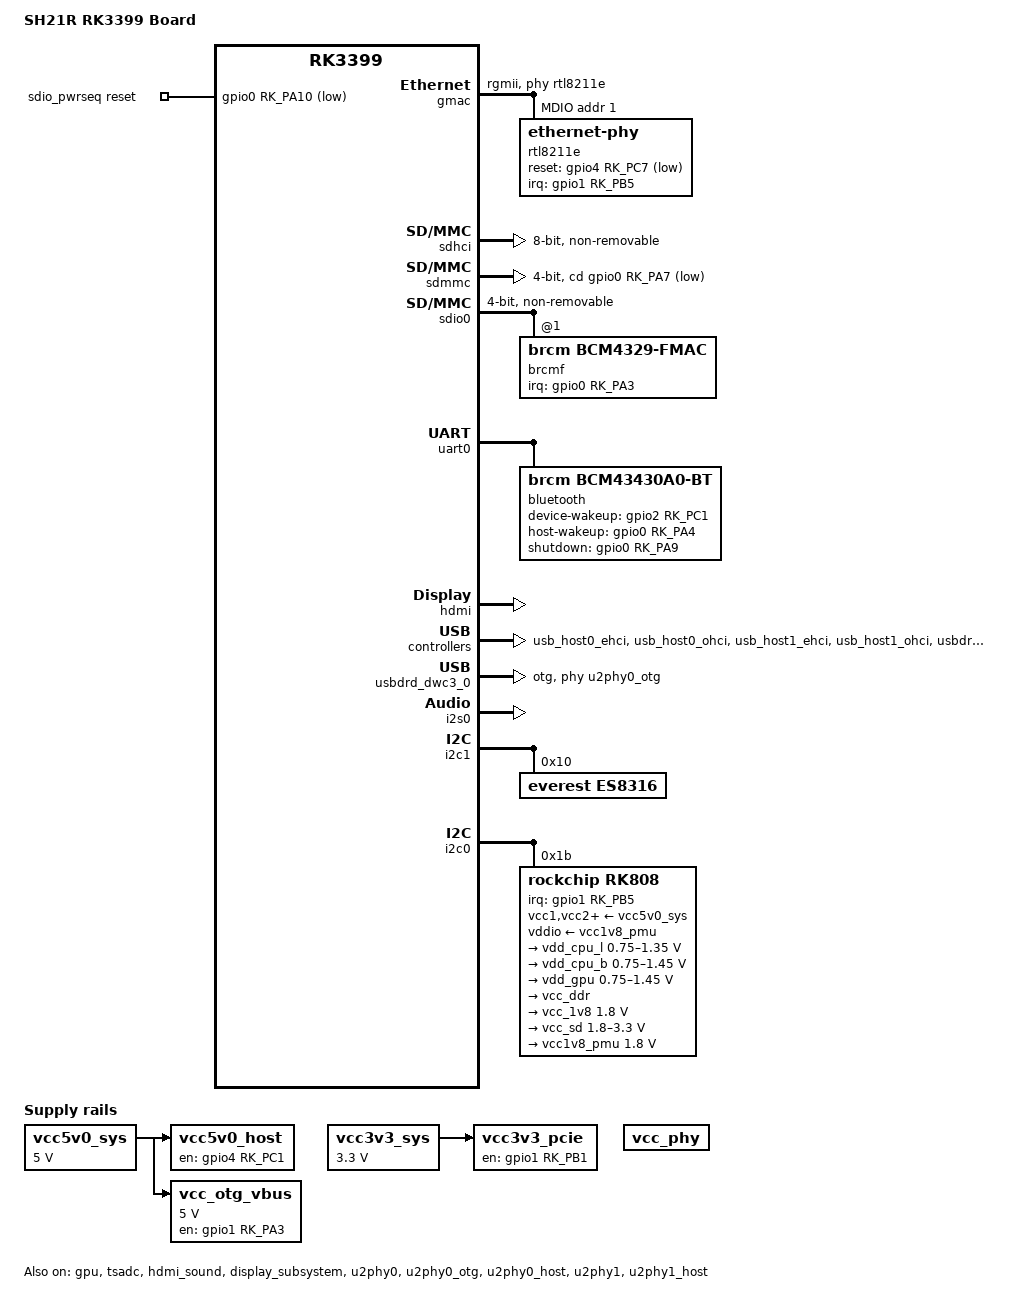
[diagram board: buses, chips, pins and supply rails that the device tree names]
// SPDX-License-Identifier: (GPL-2.0+ OR MIT)

/dts-v1/;

#include "rk3399.dtsi"
#include "rk3399-opp.dtsi"

/ {
	model = "SH21R RK3399 Board";
	compatible = "rockchip,rk3399-sh21r", "rockchip,rk3399";

	aliases {
		ethernet0 = &gmac;
		mmc0 = &sdio0;
		mmc1 = &sdmmc;
		mmc2 = &sdhci;
		serial2 = &uart2;
	};

	chosen {
		stdout-path = "serial2:1500000n8";
	};

	/* -------- Regulators -------- */

	vcc5v0_sys: regulator-vcc5v0-sys {
		compatible = "regulator-fixed";
		regulator-name = "vcc5v0_sys";
		regulator-always-on;
		regulator-boot-on;
		regulator-min-microvolt = <5000000>;
		regulator-max-microvolt = <5000000>;
	};

	vcc3v3_sys: regulator-vcc3v3-sys {
		compatible = "regulator-fixed";
		regulator-name = "vcc3v3_sys";
		regulator-always-on;
		regulator-boot-on;
		regulator-min-microvolt = <3300000>;
		regulator-max-microvolt = <3300000>;
	};

	vcc_phy: regulator-vcc-phy {
		compatible = "regulator-fixed";
		regulator-name = "vcc_phy";
		regulator-always-on;
		regulator-boot-on;
	};

	vcc5v0_host: regulator-vcc5v0-host {
		compatible = "regulator-fixed";
		enable-active-high;
		gpio = <&gpio4 RK_PC1 GPIO_ACTIVE_HIGH>;
		pinctrl-names = "default";
		pinctrl-0 = <&host_vbus_drv>;
		regulator-name = "vcc5v0_host";
		regulator-always-on;
		vin-supply = <&vcc5v0_sys>;
	};

	vcc_otg_vbus: regulator-otg-vbus {
		compatible = "regulator-fixed";
		enable-active-high;
		gpio = <&gpio1 RK_PA3 GPIO_ACTIVE_HIGH>;
		pinctrl-names = "default";
		pinctrl-0 = <&otg_vbus_drv>;
		regulator-name = "vcc_otg_vbus";
		regulator-min-microvolt = <5000000>;
		regulator-max-microvolt = <5000000>;
		vin-supply = <&vcc5v0_sys>;
	};

	vcc3v3_pcie: regulator-vcc3v3-pcie {
		compatible = "regulator-fixed";
		enable-active-high;
		gpio = <&gpio1 RK_PB1 GPIO_ACTIVE_HIGH>;
		pinctrl-names = "default";
		pinctrl-0 = <&pcie_power_en>;
		regulator-name = "vcc3v3_pcie";
		regulator-always-on;
		regulator-boot-on;
		vin-supply = <&vcc3v3_sys>;
	};

	sdio_pwrseq: sdio-pwrseq {
		compatible = "mmc-pwrseq-simple";
		clocks = <&rk808 1>;
		clock-names = "ext_clock";
		pinctrl-names = "default";
		pinctrl-0 = <&wifi_enable_h>;
		reset-gpios = <&gpio0 RK_PA10 GPIO_ACTIVE_LOW>;
	};
};

/* -------- CPU / GPU / TSADC -------- */

&cpu_l0 {
	cpu-supply = <&vdd_cpu_l>;
};

&cpu_b0 {
	cpu-supply = <&vdd_cpu_b>;
};

&gpu {
	mali-supply = <&vdd_gpu>;
	status = "okay";
};

&tsadc {
	status = "okay";
	rockchip,hw-tshut-mode = <1>;
	rockchip,hw-tshut-polarity = <1>;
};

/* -------- Ethernet: RTL8211E -------- */

&gmac {
	status = "okay";
	phy-mode = "rgmii";
	clock_in_out = "input";
	snps,reset-active-low;
	snps,reset-gpios = <&gpio4 RK_PC7 GPIO_ACTIVE_LOW>;
	snps,reset-delays-us = <0 10000 30000>;
	assigned-clocks = <&cru SCLK_RMII_SRC>;
	assigned-clock-parents = <&cru SCLK_125M>;
	pinctrl-names = "default";
	pinctrl-0 = <&rgmii_pins>;
	tx_delay = <0x28>;
	rx_delay = <0x11>;
	phy-handle = <&rtl8211e>;

	mdio {
		compatible = "snps,dwmac-mdio";
		#address-cells = <1>;
		#size-cells = <0>;

		rtl8211e: ethernet-phy@1 {
			reg = <1>;
			interrupt-parent = <&gpio1>;
			interrupts = <RK_PB5 IRQ_TYPE_LEVEL_LOW>;
			reset-assert-us = <10000>;
			reset-deassert-us = <30000>;
			reset-gpios = <&gpio4 RK_PC7 GPIO_ACTIVE_LOW>;
		};
	};
};

/* -------- eMMC -------- */

&sdhci {
	status = "okay";
	bus-width = <8>;
	mmc-hs400-1_8v;
	mmc-hs400-enhanced-strobe;
	non-removable;
	keep-power-in-suspend;
};

/* -------- TF Card -------- */

&sdmmc {
	status = "okay";
	bus-width = <4>;
	cap-mmc-highspeed;
	cap-sd-highspeed;
	cd-gpios = <&gpio0 RK_PA7 GPIO_ACTIVE_LOW>;
	vqmmc-supply = <&vcc_sd>;
	pinctrl-names = "default";
	pinctrl-0 = <&sdmmc_clk &sdmmc_cmd &sdmmc_bus4 &sdmmc_cd>;
};

/* -------- WiFi SDIO: AP6212 (BCM43430) -------- */

&sdio0 {
	status = "okay";
	bus-width = <4>;
	cap-sd-highspeed;
	cap-sdio-irq;
	keep-power-in-suspend;
	mmc-pwrseq = <&sdio_pwrseq>;
	non-removable;
	sd-uhs-sdr104;
	pinctrl-names = "default";
	pinctrl-0 = <&sdio0_bus4 &sdio0_cmd &sdio0_clk>;

	#address-cells = <1>;
	#size-cells = <0>;

	brcmf: bcrmf@1 {
		compatible = "brcm,bcm4329-fmac";
		reg = <1>;
		interrupt-parent = <&gpio0>;
		interrupts = <RK_PA3 IRQ_TYPE_LEVEL_HIGH>;
		interrupt-names = "host-wake";
	};
};

/* -------- Bluetooth: AP6212 (BCM43430) -------- */

&uart0 {
	status = "okay";
	pinctrl-names = "default";
	pinctrl-0 = <&uart0_xfer &uart0_cts &uart0_rts>;

	bluetooth {
		compatible = "brcm,bcm43430a0-bt";
		clocks = <&rk808 1>;
		clock-names = "ext_clock";
		device-wakeup-gpios = <&gpio2 RK_PC1 GPIO_ACTIVE_HIGH>;
		host-wakeup-gpios = <&gpio0 RK_PA4 GPIO_ACTIVE_HIGH>;
		shutdown-gpios = <&gpio0 RK_PA9 GPIO_ACTIVE_HIGH>;
		max-speed = <3000000>;
	};
};

/* -------- HDMI -------- */

&hdmi {
	status = "okay";
	#sound-dai-cells = <0>;
	rockchip,defaultmode = <16>;
};

&hdmi_sound {
	status = "okay";
};

&display_subsystem {
	status = "okay";
};

/* -------- USB -------- */

&usb_host0_ehci {
	status = "okay";
};

&usb_host0_ohci {
	status = "okay";
};

&usb_host1_ehci {
	status = "okay";
};

&usb_host1_ohci {
	status = "okay";
};

&usbdrd3_0 {
	status = "okay";
};

&usbdrd_dwc3_0 {
	status = "okay";
	dr_mode = "otg";
	phys = <&u2phy0_otg>, <&usbdp_phy0>;
	phy-names = "usb2-phy", "usb3-phy";
};

&u2phy0 {
	status = "okay";
};

&u2phy0_otg {
	status = "okay";
	vbus-supply = <&vcc_otg_vbus>;
};

&u2phy0_host {
	status = "okay";
	phy-supply = <&vcc5v0_host>;
};

&u2phy1 {
	status = "okay";
};

&u2phy1_host {
	status = "okay";
	phy-supply = <&vcc5v0_host>;
};

/* -------- Audio: ES8316 -------- */

&i2s0 {
	status = "okay";
};

&i2c1 {
	status = "okay";

	es8316: audio-codec@10 {
		compatible = "everest,es8316";
		reg = <0x10>;
		clocks = <&cru SCLK_I2S_8CH_MCLK>;
		clock-names = "mclk";
		#sound-dai-cells = <0>;
	};
};

/* -------- PMIC: RK808 -------- */

&i2c0 {
	status = "okay";

	rk808: pmic@1b {
		compatible = "rockchip,rk808";
		reg = <0x1b>;
		interrupt-parent = <&gpio1>;
		interrupts = <RK_PB5 IRQ_TYPE_LEVEL_LOW>;
		#clock-cells = <1>;
		clock-output-names = "xin32k", "rk808-clkout2";
		pinctrl-names = "default";
		pinctrl-0 = <&pmic_int_l>;
		rockchip,system-power-controller;
		wakeup-source;

		vcc1-supply = <&vcc5v0_sys>;
		vcc2-supply = <&vcc5v0_sys>;
		vcc3-supply = <&vcc5v0_sys>;
		vcc4-supply = <&vcc5v0_sys>;
		vcc6-supply = <&vcc5v0_sys>;
		vcc7-supply = <&vcc5v0_sys>;
		vcc8-supply = <&vcc5v0_sys>;
		vcc9-supply = <&vcc5v0_sys>;
		vcc10-supply = <&vcc5v0_sys>;
		vcc11-supply = <&vcc5v0_sys>;
		vcc12-supply = <&vcc5v0_sys>;
		vddio-supply = <&vcc1v8_pmu>;

		regulators {
			vdd_cpu_l: DCDC_REG2 {
				regulator-name = "vdd_cpu_l";
				regulator-always-on;
				regulator-boot-on;
				regulator-min-microvolt = <750000>;
				regulator-max-microvolt = <1350000>;
				regulator-ramp-delay = <6001>;
			};

			vdd_cpu_b: DCDC_REG1 {
				regulator-name = "vdd_cpu_b";
				regulator-always-on;
				regulator-boot-on;
				regulator-min-microvolt = <750000>;
				regulator-max-microvolt = <1450000>;
				regulator-ramp-delay = <6001>;
			};

			vdd_gpu: DCDC_REG3 {
				regulator-name = "vdd_gpu";
				regulator-always-on;
				regulator-boot-on;
				regulator-min-microvolt = <750000>;
				regulator-max-microvolt = <1450000>;
				regulator-ramp-delay = <6001>;
			};

			vcc_ddr: DCDC_REG4 {
				regulator-name = "vcc_ddr";
				regulator-always-on;
				regulator-boot-on;
			};

			vcc_1v8: LDO_REG1 {
				regulator-name = "vcc_1v8";
				regulator-always-on;
				regulator-boot-on;
				regulator-min-microvolt = <1800000>;
				regulator-max-microvolt = <1800000>;
			};

			vcc_sd: LDO_REG4 {
				regulator-name = "vcc_sd";
				regulator-min-microvolt = <1800000>;
				regulator-max-microvolt = <3300000>;
			};

			vcc1v8_pmu: LDO_REG3 {
				regulator-name = "vcc1v8_pmu";
				regulator-always-on;
				regulator-boot-on;
				regulator-min-microvolt = <1800000>;
				regulator-max-microvolt = <1800000>;
			};
		};
	};
};

/* -------- Pin Control Extras -------- */

&pinctrl {

	host-vbus-drv {
		host_vbus_drv: host-vbus-drv {
			rockchip,pins =
				<4 RK_PC1 RK_FUNC_GPIO &pcfg_pull_none>;
		};
	};

	otg-vbus-drv {
		otg_vbus_drv: otg-vbus-drv {
			rockchip,pins =
				<1 RK_PA3 RK_FUNC_GPIO &pcfg_pull_none>;
		};
	};

	pcie-power {
		pcie_power_en: pcie-power-en {
			rockchip,pins =
				<1 RK_PB1 RK_FUNC_GPIO &pcfg_pull_none>;
		};
	};

	sdio-pwrseq {
		wifi_enable_h: wifi-enable-h {
			rockchip,pins =
				<0 RK_PA10 RK_FUNC_GPIO &pcfg_pull_none>;
		};
	};
};
